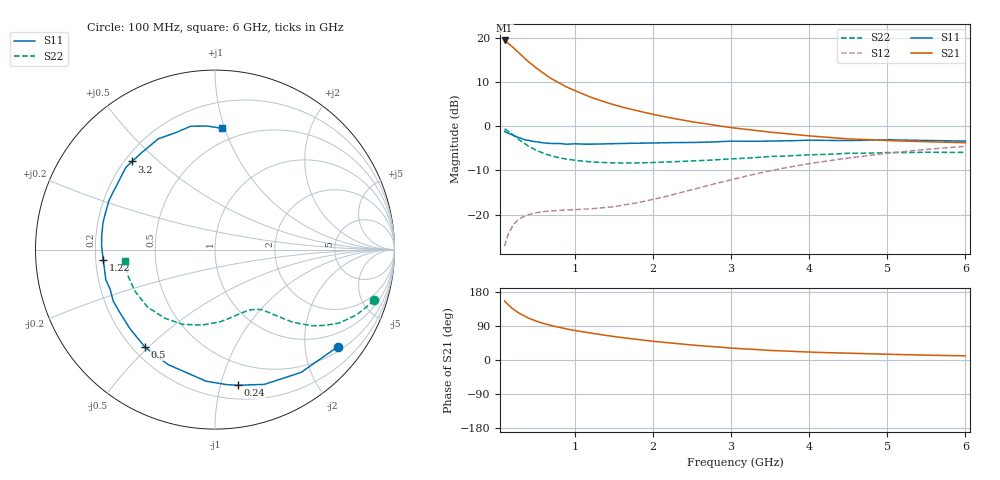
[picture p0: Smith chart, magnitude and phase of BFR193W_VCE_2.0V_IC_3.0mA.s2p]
! Infineon Technologies  Discrete & RF Semiconductors
! BFR193W
! VCE =  2.0 V,  IC =  3.0 mA
! Common Emitter S-Parameters:  Nov 2015
# GHz  S  MA  R  50
!  f  S11  S21  S12  S22
! GHz  MAG  ANG  MAG  ANG  MAG  ANG  MAG  ANG
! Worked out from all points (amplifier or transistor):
!   192 points, 100 MHz to 6 GHz, reference 50 ohm
!   highest |S21| = 19.4 dB at 100 MHz (marker M1)
!   |S21| within 3 dB of that: start of sweep to 293.5 MHz
!   unconditionally stable (mu >= 1): 1.354 GHz to 2.622 GHz
!   at 440 MHz: K = 0.38, MSG = 16.9 dB, |S12| = -19.8 dB
!   at 1.7 GHz: K = 1.09, MAG = 8.9 dB, |S12| = -17.6 dB
!   at 6 GHz: K = 0.95, MSG = 0.4 dB, |S12| = -4.6 dB
!   S11 on the Smith chart (normalised r, x): 100 MHz: 0.61, -2.77; 240 MHz: 0.31, -1.13; 500 MHz: 0.25, -0.49; 1.22 GHz: 0.23, -0.05; 3.2 GHz: 0.23, +0.41; 6 GHz: 0.39, +0.98
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0.1  0.8731 -38.2  9.279 155.6  0.044 69.7  0.9319 -17.7
0.15  0.8355 -55.0  8.586 144.9  0.0613 61.5  0.8694 -24.7
0.2  0.7997 -69.9  7.872 135.7  0.0738 54.7  0.8046 -30.5
0.24  0.7664 -80.4  7.284 129.7  0.0819 50.0  0.7522 -34.0
0.3  0.7348 -93.9  6.487 121.6  0.0909 44.7  0.6864 -38.2
0.4  0.6919 -112.2  5.383 110.9  0.0998 38.9  0.5975 -42.8
0.5  0.6686 -125.7  4.555 102.9  0.105 35.5  0.5353 -45.5
0.6  0.6475 -136.8  3.931 96.3  0.1084 33.5  0.4905 -47.8
0.7  0.6366 -145.6  3.43 90.6  0.1102 32.8  0.4605 -49.4
0.8  0.6356 -153.2  3.059 85.8  0.1116 32.8  0.4385 -51.1
0.9  0.6244 -159.3  2.752 81.6  0.1128 33.5  0.4223 -52.4
1.1  0.6262 -169.1  2.313 74.6  0.1151 36.2  0.4024 -56.0
1.22  0.6254 -174.5  2.095 70.4  0.1167 38.2  0.3932 -58.3
1.4  0.6319 178.4  1.848 64.8  0.1205 41.9  0.3861 -61.7
1.6  0.6362 172.2  1.644 59.2  0.1272 46.7  0.3828 -65.9
2.08  0.6464 158.3  1.313 47.8  0.1541 57.0  0.3896 -77.2
2.5  0.6527 148.3  1.119 39.3  0.1904 62.4  0.4048 -87.1
3.1  0.6746 135.2  0.939 30.3  0.26 63.8  0.4301 -102.6
3.2  0.6741 133.2  0.917 29.1  0.2732 63.3  0.4345 -105.4
4.1  0.691 115.5  0.763 20.1  0.3882 56.7  0.4757 -129.1
5.1  0.6974 99.6  0.682 14.7  0.5035 45.7  0.5017 -154.7
6  0.6764 86.8  0.649 11.0  0.5905 34.8  0.5054 -173.0
